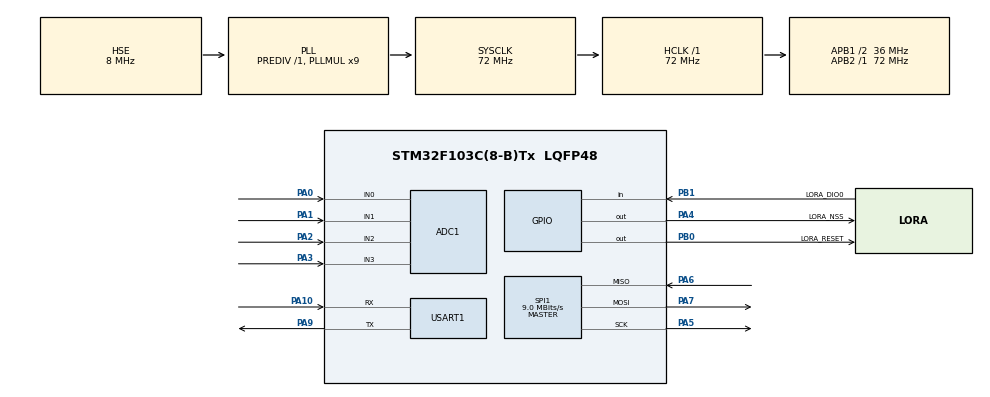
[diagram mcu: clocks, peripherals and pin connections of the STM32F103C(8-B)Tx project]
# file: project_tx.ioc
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ADC1.Channel-0\#ChannelRegularConversion=ADC_CHANNEL_0
ADC1.Channel-4\#ChannelRegularConversion=ADC_CHANNEL_1
ADC1.Channel-7\#ChannelRegularConversion=ADC_CHANNEL_2
ADC1.Channel-8\#ChannelRegularConversion=ADC_CHANNEL_3
ADC1.ContinuousConvMode=ENABLE
ADC1.NbrOfConversion=4
ADC1.NbrOfConversionFlag=1
ADC1.Rank-0\#ChannelRegularConversion=1
ADC1.Rank-4\#ChannelRegularConversion=2
ADC1.Rank-7\#ChannelRegularConversion=3
ADC1.Rank-8\#ChannelRegularConversion=4
ADC1.SamplingTime-0\#ChannelRegularConversion=ADC_SAMPLETIME_55CYCLES_5
ADC1.SamplingTime-4\#ChannelRegularConversion=ADC_SAMPLETIME_55CYCLES_5
ADC1.SamplingTime-7\#ChannelRegularConversion=ADC_SAMPLETIME_55CYCLES_5
ADC1.SamplingTime-8\#ChannelRegularConversion=ADC_SAMPLETIME_55CYCLES_5
ADC1.master=1
Dma.ADC1.0.Direction=DMA_PERIPH_TO_MEMORY
Dma.ADC1.0.Instance=DMA1_Channel1
Dma.ADC1.0.MemDataAlignment=DMA_MDATAALIGN_HALFWORD
Dma.ADC1.0.MemInc=DMA_MINC_ENABLE
Dma.ADC1.0.Mode=DMA_CIRCULAR
Dma.ADC1.0.PeriphDataAlignment=DMA_PDATAALIGN_HALFWORD
Dma.ADC1.0.PeriphInc=DMA_PINC_DISABLE
Dma.ADC1.0.Priority=DMA_PRIORITY_HIGH
Dma.Request0=ADC1
Dma.Request1=USART1_TX
Dma.USART1_TX.1.Direction=DMA_MEMORY_TO_PERIPH
Dma.USART1_TX.1.Instance=DMA1_Channel4
Dma.USART1_TX.1.MemDataAlignment=DMA_MDATAALIGN_BYTE
Dma.USART1_TX.1.MemInc=DMA_MINC_ENABLE
Dma.USART1_TX.1.Mode=DMA_NORMAL
Dma.USART1_TX.1.PeriphDataAlignment=DMA_PDATAALIGN_BYTE
Dma.USART1_TX.1.PeriphInc=DMA_PINC_DISABLE
Dma.USART1_TX.1.Priority=DMA_PRIORITY_LOW
Mcu.Family=STM32F1
Mcu.Name=STM32F103C(8-B)Tx
Mcu.Package=LQFP48
NVIC.DMA1_Channel1_IRQn=true\:0\:0\:false\:false\:true\:false\:true\:true
NVIC.DMA1_Channel4_IRQn=true\:0\:0\:false\:false\:true\:false\:true\:true
NVIC.PriorityGroup=NVIC_PRIORITYGROUP_4
NVIC.TIM2_IRQn=true\:0\:0\:false\:false\:true\:true\:true\:true
NVIC.USART1_IRQn=true\:0\:0\:false\:false\:true\:true\:true\:true
PA0-WKUP.Signal=ADCx_IN0
PA1.Signal=ADCx_IN1
PA10.Mode=Asynchronous
PA10.Signal=USART1_RX
PA13.Mode=Serial_Wire
PA13.Signal=SYS_JTMS-SWDIO
PA14.Mode=Serial_Wire
PA14.Signal=SYS_JTCK-SWCLK
PA2.Signal=ADCx_IN2
PA3.Signal=ADCx_IN3
PA4.GPIO_Label=LORA_NSS
PA4.GPIO_Speed=GPIO_SPEED_FREQ_HIGH
PA4.Signal=GPIO_Output
PA5.Mode=Full_Duplex_Master
PA5.Signal=SPI1_SCK
PA6.Mode=Full_Duplex_Master
PA6.Signal=SPI1_MISO
PA7.Mode=Full_Duplex_Master
PA7.Signal=SPI1_MOSI
PA9.Mode=Asynchronous
PA9.Signal=USART1_TX
PB0.GPIO_Label=LORA_RESET
PB0.GPIO_Speed=GPIO_SPEED_FREQ_HIGH
PB0.Signal=GPIO_Output
PB1.GPIO_Label=LORA_DIO0
PB1.Signal=GPIO_Input
PC14-OSC32_IN.Mode=LSE-External-Oscillator
PC14-OSC32_IN.Signal=RCC_OSC32_IN
PC15-OSC32_OUT.Mode=LSE-External-Oscillator
PC15-OSC32_OUT.Signal=RCC_OSC32_OUT
PD0-OSC_IN.Mode=HSE-External-Oscillator
PD0-OSC_IN.Signal=RCC_OSC_IN
PD1-OSC_OUT.Mode=HSE-External-Oscillator
PD1-OSC_OUT.Signal=RCC_OSC_OUT
ProjectManager.HeapSize=0x200
ProjectManager.StackSize=0x400
ProjectManager.TargetToolchain=MDK-ARM V5.32
RCC.ADCPresc=RCC_ADCPCLK2_DIV6
RCC.AHBFreq_Value=72000000
RCC.APB1CLKDivider=RCC_HCLK_DIV2
RCC.APB1Freq_Value=36000000
RCC.APB1TimFreq_Value=72000000
RCC.APB2Freq_Value=72000000
RCC.APB2TimFreq_Value=72000000
RCC.HCLKFreq_Value=72000000
RCC.PLLMUL=RCC_PLL_MUL9
RCC.PLLSourceVirtual=RCC_PLLSOURCE_HSE
RCC.SYSCLKFreq_VALUE=72000000
RCC.SYSCLKSource=RCC_SYSCLKSOURCE_PLLCLK
RCC.USBFreq_Value=72000000
SH.ADCx_IN0.0=ADC1_IN0,IN0
SH.ADCx_IN1.0=ADC1_IN1,IN1
SH.ADCx_IN2.0=ADC1_IN2,IN2
SH.ADCx_IN3.0=ADC1_IN3,IN3
SPI1.BaudRatePrescaler=SPI_BAUDRATEPRESCALER_8
SPI1.CalculateBaudRate=9.0 MBits/s
SPI1.Direction=SPI_DIRECTION_2LINES
SPI1.Mode=SPI_MODE_MASTER
SPI1.VirtualType=VM_MASTER
TIM2.Period=999
TIM2.Prescaler=7199
USART1.VirtualMode=VM_ASYNC
VP_TIM2_VS_ClockSourceINT.Mode=Internal
board=custom

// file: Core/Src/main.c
/* USER CODE BEGIN Header */
/**
  ******************************************************************************
  * @file           : main.c
  * @brief          : Main program body
  ******************************************************************************
  * @attention
  *
  * Copyright (c) 2026 STMicroelectronics.
  * All rights reserved.
  *
  * This software is licensed under terms that can be found in the LICENSE file
  * in the root directory of this software component.
  * If no LICENSE file comes with this software, it is provided AS-IS.
  *
  ******************************************************************************
  */
/* USER CODE END Header */
#include "main.h"
#include "adc.h"
#include "dma.h"
#include "spi.h"
#include "tim.h"
#include "usart.h"
#include "gpio.h"

/* USER CODE BEGIN Includes */
#include <stdio.h>
#include "remote.h"
#include <string.h>
#include <stdint.h>
#include "lora.h"
/* USER CODE END Includes */

/* USER CODE BEGIN PTD */
#include "protocol.h"
#include "RFsx1276.h"
#include "data_types.h"
#include "transport.h"
/* USER CODE END PTD */

/* USER CODE BEGIN PV */
volatile uint16_t adc_buf[4] = {0};
volatile uint16_t send_flag = 0;
Frame tx;
extern Channels_t ch;
char buf[64];
uint32_t last_time = 0;
typedef enum
{
    STATE_INIT = 0,
    STATE_NORMAL,
    STATE_SLEEP,
    STATE_CALIBRATION,
    STATE_FAILSAFE
}SystemState;
SystemState current_state = STATE_INIT;
/* USER CODE END PV */

void SystemClock_Config(void);
/* USER CODE BEGIN PFP */
void apply_failsafe(void);
/* USER CODE END PFP */

/* USER CODE BEGIN 0 */

// void uart_send_string(const char *str)
// {

// }

/* USER CODE END 0 */

int main(void)
{

  /* MCU Configuration--------------------------------------------------------*/

  /* Reset of all peripherals, Initializes the Flash interface and the Systick. */
  HAL_Init();

  /* Configure the system clock */
  SystemClock_Config();

  /* Initialize all configured peripherals */
  MX_GPIO_Init();
  MX_DMA_Init();
  MX_ADC1_Init();
  MX_USART1_UART_Init();
  MX_TIM2_Init();
  MX_SPI1_Init();
  /* USER CODE BEGIN 2 */
  RF_Sx1276_Init();
  remote_init();
  HAL_ADCEx_Calibration_Start(&hadc1);
  HAL_ADC_Start_DMA(&hadc1, (uint32_t *)adc_buf, 4);
  HAL_TIM_Base_Start_IT(&htim2);
  SX1276StartRx();
  //  uart_send_string("Program Start\r\n");
  /* USER CODE END 2 */

  /* Infinite loop */
  /* USER CODE BEGIN WHILE */
  //   uint8_t spi_tx_data = 0xAA;
  //   uint8_t spi_rx_data = 0x00
  while (1)
  {
      //	 HAL_GPIO_TogglePin(GPIOC, GPIO_PIN_13);
      //
      //	 HAL_GPIO_WritePin(LORA_NSS_GPIO_Port, LORA_NSS_Pin, GPIO_PIN_RESET);
      //
      //	if(HAL_SPI_TransmitReceive(&hspi1, &spi_tx_data, &spi_rx_data, 1, 100) != HAL_OK)
      //    {
      //        // ?? SPI ??,LED ???(??????????)
      //        HAL_GPIO_WritePin(GPIOC, GPIO_PIN_13, GPIO_PIN_SET);
      //        Error_Handler();
      //    }
      //
      //		HAL_GPIO_WritePin(LORA_NSS_GPIO_Port, LORA_NSS_Pin, GPIO_PIN_SET);
      //
      //		HAL_Delay(200);

      SX1276Process();
       if (current_state == STATE_INIT)
      {
          current_state = STATE_NORMAL;
      }
      if (send_flag)
      {
          send_flag = 0;
          last_time = HAL_GetTick();
          switch (current_state)
          {
          case STATE_INIT:
              break;
          case STATE_NORMAL:
              remote_update((uint16_t *)adc_buf);
              frame_init(&tx);
              frame_setchannels(&tx, &ch);
              frame_update_crc(&tx);
              transport_send((uint8_t *)&tx, sizeof(Frame));
              break;
          case STATE_SLEEP:
              break;
          case STATE_CALIBRATION:
              break;
          case STATE_FAILSAFE:
              apply_failsafe();
              break;
          default:
              current_state = STATE_INIT;
              break;
          }
      }
      if (HAL_GetTick() - last_time > 500)
      {
          current_state = STATE_FAILSAFE;
      }
      else
      {
          if (current_state == STATE_FAILSAFE)
          {
              current_state = STATE_NORMAL;
          }
      }
    /* USER CODE END WHILE */

  }
}

void SystemClock_Config(void)
{
  RCC_OscInitTypeDef RCC_OscInitStruct = {0};
  RCC_ClkInitTypeDef RCC_ClkInitStruct = {0};
  RCC_PeriphCLKInitTypeDef PeriphClkInit = {0};

  /** Initializes the RCC Oscillators according to the specified parameters
  * in the RCC_OscInitTypeDef structure.
  */
  RCC_OscInitStruct.OscillatorType = RCC_OSCILLATORTYPE_HSE;
  RCC_OscInitStruct.HSEState = RCC_HSE_ON;
  RCC_OscInitStruct.HSEPredivValue = RCC_HSE_PREDIV_DIV1;
  RCC_OscInitStruct.HSIState = RCC_HSI_ON;
  RCC_OscInitStruct.PLL.PLLState = RCC_PLL_ON;
  RCC_OscInitStruct.PLL.PLLSource = RCC_PLLSOURCE_HSE;
  RCC_OscInitStruct.PLL.PLLMUL = RCC_PLL_MUL9;
  if (HAL_RCC_OscConfig(&RCC_OscInitStruct) != HAL_OK)
  {
    Error_Handler();
  }

  /** Initializes the CPU, AHB and APB buses clocks
  */
  RCC_ClkInitStruct.ClockType = RCC_CLOCKTYPE_HCLK|RCC_CLOCKTYPE_SYSCLK
                              |RCC_CLOCKTYPE_PCLK1|RCC_CLOCKTYPE_PCLK2;
  RCC_ClkInitStruct.SYSCLKSource = RCC_SYSCLKSOURCE_PLLCLK;
  RCC_ClkInitStruct.AHBCLKDivider = RCC_SYSCLK_DIV1;
  RCC_ClkInitStruct.APB1CLKDivider = RCC_HCLK_DIV2;
  RCC_ClkInitStruct.APB2CLKDivider = RCC_HCLK_DIV1;

  if (HAL_RCC_ClockConfig(&RCC_ClkInitStruct, FLASH_LATENCY_2) != HAL_OK)
  {
    Error_Handler();
  }
  PeriphClkInit.PeriphClockSelection = RCC_PERIPHCLK_ADC;
  PeriphClkInit.AdcClockSelection = RCC_ADCPCLK2_DIV6;
  if (HAL_RCCEx_PeriphCLKConfig(&PeriphClkInit) != HAL_OK)
  {
    Error_Handler();
  }
}

/* USER CODE BEGIN 4 */
void apply_failsafe(void)
{
    ch.roll = 0;
    ch.pitch = 0;
    ch.yaw = 0;
    ch.throttle = 0;
    frame_init(&tx);
    frame_setchannels(&tx, &ch);
    frame_update_crc(&tx);
    if (transport_send((uint8_t *)&tx, sizeof(Frame)) == 1)
    {
        last_time = HAL_GetTick();
    }
}

void HAL_TIM_PeriodElapsedCallback(TIM_HandleTypeDef *htim)
{
    if (htim->Instance == TIM2)
    {
        send_flag = 1;
    }
 }

/* USER CODE END 4 */

void Error_Handler(void)
{
        __disable_irq();
        while (1)
        {
        }
}
